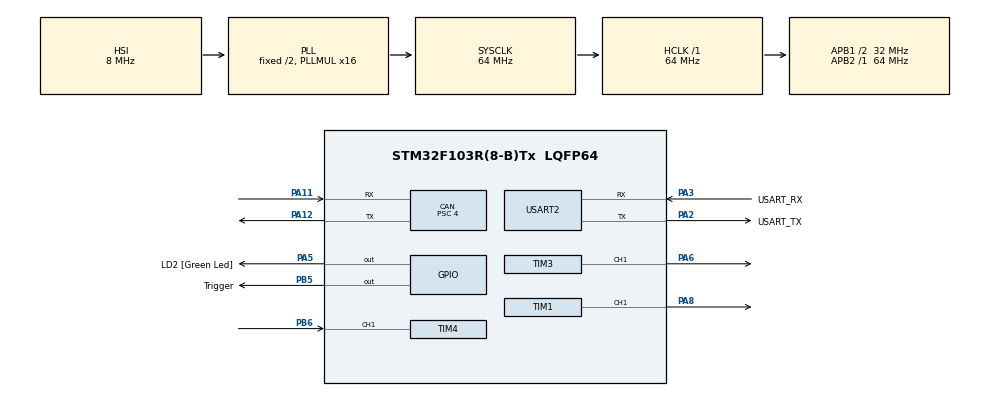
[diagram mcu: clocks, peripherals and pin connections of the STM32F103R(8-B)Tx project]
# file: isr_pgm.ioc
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CAN.ABOM=ENABLE
CAN.BS1=CAN_BS1_15TQ
CAN.BS2=CAN_BS2_2TQ
CAN.CalculateBaudRate=444444
CAN.CalculateTimeBit=2250
CAN.CalculateTimeQuantum=125.0
CAN.Mode=CAN_MODE_LOOPBACK
CAN.NART=ENABLE
CAN.Prescaler=4
Mcu.Family=STM32F1
Mcu.Name=STM32F103R(8-B)Tx
Mcu.Package=LQFP64
NVIC.PriorityGroup=NVIC_PRIORITYGROUP_4
NVIC.TIM2_IRQn=true\:15\:0\:false\:false\:true\:false\:true\:true
NVIC.TIM4_IRQn=true\:12\:0\:true\:false\:true\:true\:true\:true
NVIC.TimeBase=TIM2_IRQn
NVIC.TimeBaseIP=TIM2
NVIC.USB_LP_CAN1_RX0_IRQn=true\:12\:0\:true\:false\:true\:true\:true\:true
PA11.Mode=CAN_Activate
PA11.Signal=CAN_RX
PA12.Mode=CAN_Activate
PA12.Signal=CAN_TX
PA13.GPIO_Label=TMS
PA13.Mode=Serial_Wire
PA13.Signal=SYS_JTMS-SWDIO
PA14.GPIO_Label=TCK
PA14.Mode=Serial_Wire
PA14.Signal=SYS_JTCK-SWCLK
PA2.GPIO_Label=USART_TX
PA2.GPIO_Mode=GPIO_MODE_AF_PP
PA2.GPIO_PuPd=GPIO_NOPULL
PA2.GPIO_Speed=GPIO_SPEED_FREQ_LOW
PA2.Mode=Asynchronous
PA2.Signal=USART2_TX
PA3.GPIO_Label=USART_RX
PA3.GPIO_Mode=GPIO_MODE_AF_PP
PA3.GPIO_PuPd=GPIO_NOPULL
PA3.GPIO_Speed=GPIO_SPEED_FREQ_LOW
PA3.Mode=Asynchronous
PA3.Signal=USART2_RX
PA5.GPIO_Label=LD2 [Green Led]
PA5.GPIO_ModeDefaultOutputPP=GPIO_MODE_OUTPUT_PP
PA5.GPIO_PuPd=GPIO_NOPULL
PA5.GPIO_Speed=GPIO_SPEED_FREQ_LOW
PA5.Signal=GPIO_Output
PA6.Signal=S_TIM3_CH1
PA8.Signal=S_TIM1_CH1
PB3.GPIO_Label=SWO
PB3.Signal=SYS_JTDO-TRACESWO
PB5.GPIO_Label=Trigger
PB5.Signal=GPIO_Output
PB6.Signal=S_TIM4_CH1
PC14-OSC32_IN.Signal=RCC_OSC32_IN
PC15-OSC32_OUT.Signal=RCC_OSC32_OUT
PD0-OSC_IN.Signal=RCC_OSC_IN
PD1-OSC_OUT.Signal=RCC_OSC_OUT
ProjectManager.HeapSize=0x200
ProjectManager.StackSize=0x400
ProjectManager.TargetToolchain=STM32CubeIDE
RCC.AHBFreq_Value=64000000
RCC.APB1CLKDivider=RCC_HCLK_DIV2
RCC.APB1Freq_Value=32000000
RCC.APB1TimFreq_Value=64000000
RCC.APB2Freq_Value=64000000
RCC.APB2TimFreq_Value=64000000
RCC.HCLKFreq_Value=64000000
RCC.PLLMUL=RCC_PLL_MUL16
RCC.SYSCLKFreq_VALUE=64000000
RCC.SYSCLKSource=RCC_SYSCLKSOURCE_PLLCLK
RCC.USBFreq_Value=64000000
SH.S_TIM1_CH1.0=TIM1_CH1,PWM Generation1 CH1
SH.S_TIM3_CH1.0=TIM3_CH1,PWM Generation1 CH1
SH.S_TIM4_CH1.0=TIM4_CH1,PWM_Input_1
TIM1.Channel-PWM\ Generation1\ CH1=TIM_CHANNEL_1
TIM1.Period=19999
TIM1.Prescaler=63
TIM3.Channel-PWM\ Generation1\ CH1=TIM_CHANNEL_1
TIM3.Period=19999
TIM3.Prescaler=63
TIM4.ICFilter_1=4
TIM4.ICFilter_2=4
TIM4.Prescaler=63
USART2.VirtualMode=VM_ASYNC
VP_SYS_VS_tim2.Mode=TIM2
VP_TIM1_VS_ClockSourceINT.Mode=Internal
VP_TIM3_VS_ClockSourceINT.Mode=Internal
VP_TIM4_VS_ClockSourceINT.Mode=Internal
board=NUCLEO-F103RB

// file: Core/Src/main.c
/* USER CODE BEGIN Header */
/**
  ******************************************************************************
  * @file           : main.c
  * @brief          : Main program body
  ******************************************************************************
  * @attention
  *
  * Copyright (c) 2026 STMicroelectronics.
  * All rights reserved.
  *
  * This software is licensed under terms that can be found in the LICENSE file
  * in the root directory of this software component.
  * If no LICENSE file comes with this software, it is provided AS-IS.
  *
  ******************************************************************************
  */
/* USER CODE END Header */
#include "main.h"

/* USER CODE BEGIN Includes */
#include <stdio.h>
#include "FreeRTOS.h"
#include "task.h"
#include "sensor_task.h"
#include "queue.h"
#include "guidance_task.h"
/* USER CODE END Includes */

CAN_HandleTypeDef hcan;

TIM_HandleTypeDef htim1;
TIM_HandleTypeDef htim3;
TIM_HandleTypeDef htim4;

UART_HandleTypeDef huart2;

/* USER CODE BEGIN PV */

TaskHandle_t xSensorScannerHandle;
TaskHandle_t xGuidanceHandle;
TaskHandle_t xUARTHandle;
QueueHandle_t xGuidanceQueue;
QueueHandle_t xUARTQueue;
/* USER CODE END PV */

void SystemClock_Config(void);
static void MX_GPIO_Init(void);
static void MX_TIM3_Init(void);
static void MX_TIM4_Init(void);
static void MX_CAN_Init(void);
static void MX_TIM1_Init(void);
static void MX_USART2_UART_Init(void);
/* USER CODE BEGIN PFP */

extern void vTaskSensorScanner(void* parameters);
extern void vTaskGuidance(void* parameters);
extern void vTaskUART(void *parameters);
HAL_StatusTypeDef HAL_FilterConfiguration(void);

/* USER CODE END PFP */

/* USER CODE BEGIN 0 */
int __io_putchar(int ch) {

    HAL_UART_Transmit(&huart2, (uint8_t *)&ch, 1, 0xFFFF);

    return ch;

}
/* USER CODE END 0 */

int main(void)
{

  /* USER CODE BEGIN 1 */
	BaseType_t status;
  /* USER CODE END 1 */

  /* MCU Configuration--------------------------------------------------------*/

  /* Reset of all peripherals, Initializes the Flash interface and the Systick. */
  HAL_Init();

  /* Configure the system clock */
  SystemClock_Config();

  /* Initialize all configured peripherals */
  MX_GPIO_Init();
  MX_TIM3_Init();
  MX_TIM4_Init();
  MX_CAN_Init();
  MX_TIM1_Init();
  MX_USART2_UART_Init();
  /* USER CODE BEGIN 2 */
  // 필터 설정
  if (HAL_FilterConfiguration() != HAL_OK)
  {
	  Error_Handler();
  }
  HAL_CAN_ActivateNotification(&hcan, CAN_IT_RX_FIFO0_MSG_PENDING);
  HAL_CAN_Start(&hcan);

  CoreDebug->DEMCR |= CoreDebug_DEMCR_TRCENA_Msk;
  DWT->CYCCNT = 0;
  DWT->CTRL |= DWT_CTRL_CYCCNTENA_Msk;

  HAL_TIM_PWM_Start(&htim3, TIM_CHANNEL_1);
  HAL_TIM_PWM_Start(&htim1, TIM_CHANNEL_1);

  xGuidanceQueue = xQueueCreate(10, sizeof(uint8_t) * 4);
  xUARTQueue = xQueueCreate(5, sizeof(UART_Data_t));

  status = xTaskCreate(vTaskSensorScanner, "sensor_task", 250, NULL, 2, &xSensorScannerHandle);
  configASSERT(status == pdTRUE);

  status = xTaskCreate(vTaskGuidance, "guidance_task", 250, NULL, 3, &xGuidanceHandle);
  configASSERT(status == pdTRUE);

  status = xTaskCreate(vTaskUART, "uart_task", 250, NULL, 1, &xUARTHandle);
  configASSERT(status == pdTRUE);

  vTaskStartScheduler();
  /* USER CODE END 2 */

  /* Infinite loop */
  while (1)
  {

  }
}

void SystemClock_Config(void)
{
  RCC_OscInitTypeDef RCC_OscInitStruct = {0};
  RCC_ClkInitTypeDef RCC_ClkInitStruct = {0};

  /** Initializes the RCC Oscillators according to the specified parameters
  * in the RCC_OscInitTypeDef structure.
  */
  RCC_OscInitStruct.OscillatorType = RCC_OSCILLATORTYPE_HSI;
  RCC_OscInitStruct.HSIState = RCC_HSI_ON;
  RCC_OscInitStruct.HSICalibrationValue = RCC_HSICALIBRATION_DEFAULT;
  RCC_OscInitStruct.PLL.PLLState = RCC_PLL_ON;
  RCC_OscInitStruct.PLL.PLLSource = RCC_PLLSOURCE_HSI_DIV2;
  RCC_OscInitStruct.PLL.PLLMUL = RCC_PLL_MUL16;
  if (HAL_RCC_OscConfig(&RCC_OscInitStruct) != HAL_OK)
  {
    Error_Handler();
  }

  /** Initializes the CPU, AHB and APB buses clocks
  */
  RCC_ClkInitStruct.ClockType = RCC_CLOCKTYPE_HCLK|RCC_CLOCKTYPE_SYSCLK
                              |RCC_CLOCKTYPE_PCLK1|RCC_CLOCKTYPE_PCLK2;
  RCC_ClkInitStruct.SYSCLKSource = RCC_SYSCLKSOURCE_PLLCLK;
  RCC_ClkInitStruct.AHBCLKDivider = RCC_SYSCLK_DIV1;
  RCC_ClkInitStruct.APB1CLKDivider = RCC_HCLK_DIV2;
  RCC_ClkInitStruct.APB2CLKDivider = RCC_HCLK_DIV1;

  if (HAL_RCC_ClockConfig(&RCC_ClkInitStruct, FLASH_LATENCY_2) != HAL_OK)
  {
    Error_Handler();
  }
}

static void MX_CAN_Init(void)
{

  hcan.Instance = CAN1;
  hcan.Init.Prescaler = 4;
  hcan.Init.Mode = CAN_MODE_LOOPBACK;
  hcan.Init.SyncJumpWidth = CAN_SJW_1TQ;
  hcan.Init.TimeSeg1 = CAN_BS1_15TQ;
  hcan.Init.TimeSeg2 = CAN_BS2_2TQ;
  hcan.Init.TimeTriggeredMode = DISABLE;
  hcan.Init.AutoBusOff = ENABLE;
  hcan.Init.AutoWakeUp = DISABLE;
  hcan.Init.AutoRetransmission = ENABLE;
  hcan.Init.ReceiveFifoLocked = DISABLE;
  hcan.Init.TransmitFifoPriority = DISABLE;
  if (HAL_CAN_Init(&hcan) != HAL_OK)
  {
    Error_Handler();
  }

}

static void MX_TIM1_Init(void)
{

  TIM_ClockConfigTypeDef sClockSourceConfig = {0};
  TIM_MasterConfigTypeDef sMasterConfig = {0};
  TIM_OC_InitTypeDef sConfigOC = {0};
  TIM_BreakDeadTimeConfigTypeDef sBreakDeadTimeConfig = {0};

  htim1.Instance = TIM1;
  htim1.Init.Prescaler = 63;
  htim1.Init.CounterMode = TIM_COUNTERMODE_UP;
  htim1.Init.Period = 19999;
  htim1.Init.ClockDivision = TIM_CLOCKDIVISION_DIV1;
  htim1.Init.RepetitionCounter = 0;
  htim1.Init.AutoReloadPreload = TIM_AUTORELOAD_PRELOAD_DISABLE;
  if (HAL_TIM_Base_Init(&htim1) != HAL_OK)
  {
    Error_Handler();
  }
  sClockSourceConfig.ClockSource = TIM_CLOCKSOURCE_INTERNAL;
  if (HAL_TIM_ConfigClockSource(&htim1, &sClockSourceConfig) != HAL_OK)
  {
    Error_Handler();
  }
  if (HAL_TIM_PWM_Init(&htim1) != HAL_OK)
  {
    Error_Handler();
  }
  sMasterConfig.MasterOutputTrigger = TIM_TRGO_RESET;
  sMasterConfig.MasterSlaveMode = TIM_MASTERSLAVEMODE_DISABLE;
  if (HAL_TIMEx_MasterConfigSynchronization(&htim1, &sMasterConfig) != HAL_OK)
  {
    Error_Handler();
  }
  sConfigOC.OCMode = TIM_OCMODE_PWM1;
  sConfigOC.Pulse = 0;
  sConfigOC.OCPolarity = TIM_OCPOLARITY_HIGH;
  sConfigOC.OCNPolarity = TIM_OCNPOLARITY_HIGH;
  sConfigOC.OCFastMode = TIM_OCFAST_DISABLE;
  sConfigOC.OCIdleState = TIM_OCIDLESTATE_RESET;
  sConfigOC.OCNIdleState = TIM_OCNIDLESTATE_RESET;
  if (HAL_TIM_PWM_ConfigChannel(&htim1, &sConfigOC, TIM_CHANNEL_1) != HAL_OK)
  {
    Error_Handler();
  }
  sBreakDeadTimeConfig.OffStateRunMode = TIM_OSSR_DISABLE;
  sBreakDeadTimeConfig.OffStateIDLEMode = TIM_OSSI_DISABLE;
  sBreakDeadTimeConfig.LockLevel = TIM_LOCKLEVEL_OFF;
  sBreakDeadTimeConfig.DeadTime = 0;
  sBreakDeadTimeConfig.BreakState = TIM_BREAK_DISABLE;
  sBreakDeadTimeConfig.BreakPolarity = TIM_BREAKPOLARITY_HIGH;
  sBreakDeadTimeConfig.AutomaticOutput = TIM_AUTOMATICOUTPUT_DISABLE;
  if (HAL_TIMEx_ConfigBreakDeadTime(&htim1, &sBreakDeadTimeConfig) != HAL_OK)
  {
    Error_Handler();
  }
  HAL_TIM_MspPostInit(&htim1);

}

static void MX_TIM3_Init(void)
{

  TIM_ClockConfigTypeDef sClockSourceConfig = {0};
  TIM_MasterConfigTypeDef sMasterConfig = {0};
  TIM_OC_InitTypeDef sConfigOC = {0};

  htim3.Instance = TIM3;
  htim3.Init.Prescaler = 63;
  htim3.Init.CounterMode = TIM_COUNTERMODE_UP;
  htim3.Init.Period = 19999;
  htim3.Init.ClockDivision = TIM_CLOCKDIVISION_DIV1;
  htim3.Init.AutoReloadPreload = TIM_AUTORELOAD_PRELOAD_DISABLE;
  if (HAL_TIM_Base_Init(&htim3) != HAL_OK)
  {
    Error_Handler();
  }
  sClockSourceConfig.ClockSource = TIM_CLOCKSOURCE_INTERNAL;
  if (HAL_TIM_ConfigClockSource(&htim3, &sClockSourceConfig) != HAL_OK)
  {
    Error_Handler();
  }
  if (HAL_TIM_PWM_Init(&htim3) != HAL_OK)
  {
    Error_Handler();
  }
  sMasterConfig.MasterOutputTrigger = TIM_TRGO_RESET;
  sMasterConfig.MasterSlaveMode = TIM_MASTERSLAVEMODE_DISABLE;
  if (HAL_TIMEx_MasterConfigSynchronization(&htim3, &sMasterConfig) != HAL_OK)
  {
    Error_Handler();
  }
  sConfigOC.OCMode = TIM_OCMODE_PWM1;
  sConfigOC.Pulse = 0;
  sConfigOC.OCPolarity = TIM_OCPOLARITY_HIGH;
  sConfigOC.OCFastMode = TIM_OCFAST_DISABLE;
  if (HAL_TIM_PWM_ConfigChannel(&htim3, &sConfigOC, TIM_CHANNEL_1) != HAL_OK)
  {
    Error_Handler();
  }
  HAL_TIM_MspPostInit(&htim3);

}

static void MX_TIM4_Init(void)
{

  TIM_ClockConfigTypeDef sClockSourceConfig = {0};
  TIM_SlaveConfigTypeDef sSlaveConfig = {0};
  TIM_IC_InitTypeDef sConfigIC = {0};
  TIM_MasterConfigTypeDef sMasterConfig = {0};

  htim4.Instance = TIM4;
  htim4.Init.Prescaler = 63;
  htim4.Init.CounterMode = TIM_COUNTERMODE_UP;
  htim4.Init.Period = 65535;
  htim4.Init.ClockDivision = TIM_CLOCKDIVISION_DIV1;
  htim4.Init.AutoReloadPreload = TIM_AUTORELOAD_PRELOAD_DISABLE;
  if (HAL_TIM_Base_Init(&htim4) != HAL_OK)
  {
    Error_Handler();
  }
  sClockSourceConfig.ClockSource = TIM_CLOCKSOURCE_INTERNAL;
  if (HAL_TIM_ConfigClockSource(&htim4, &sClockSourceConfig) != HAL_OK)
  {
    Error_Handler();
  }
  if (HAL_TIM_IC_Init(&htim4) != HAL_OK)
  {
    Error_Handler();
  }
  sSlaveConfig.SlaveMode = TIM_SLAVEMODE_RESET;
  sSlaveConfig.InputTrigger = TIM_TS_TI1FP1;
  sSlaveConfig.TriggerPolarity = TIM_INPUTCHANNELPOLARITY_RISING;
  sSlaveConfig.TriggerPrescaler = TIM_ICPSC_DIV1;
  sSlaveConfig.TriggerFilter = 4;
  if (HAL_TIM_SlaveConfigSynchro(&htim4, &sSlaveConfig) != HAL_OK)
  {
    Error_Handler();
  }
  sConfigIC.ICPolarity = TIM_INPUTCHANNELPOLARITY_RISING;
  sConfigIC.ICSelection = TIM_ICSELECTION_DIRECTTI;
  sConfigIC.ICPrescaler = TIM_ICPSC_DIV1;
  sConfigIC.ICFilter = 4;
  if (HAL_TIM_IC_ConfigChannel(&htim4, &sConfigIC, TIM_CHANNEL_1) != HAL_OK)
  {
    Error_Handler();
  }
  sConfigIC.ICPolarity = TIM_INPUTCHANNELPOLARITY_FALLING;
  sConfigIC.ICSelection = TIM_ICSELECTION_INDIRECTTI;
  if (HAL_TIM_IC_ConfigChannel(&htim4, &sConfigIC, TIM_CHANNEL_2) != HAL_OK)
  {
    Error_Handler();
  }
  sMasterConfig.MasterOutputTrigger = TIM_TRGO_RESET;
  sMasterConfig.MasterSlaveMode = TIM_MASTERSLAVEMODE_DISABLE;
  if (HAL_TIMEx_MasterConfigSynchronization(&htim4, &sMasterConfig) != HAL_OK)
  {
    Error_Handler();
  }

}

static void MX_USART2_UART_Init(void)
{

  huart2.Instance = USART2;
  huart2.Init.BaudRate = 115200;
  huart2.Init.WordLength = UART_WORDLENGTH_8B;
  huart2.Init.StopBits = UART_STOPBITS_1;
  huart2.Init.Parity = UART_PARITY_NONE;
  huart2.Init.Mode = UART_MODE_TX_RX;
  huart2.Init.HwFlowCtl = UART_HWCONTROL_NONE;
  huart2.Init.OverSampling = UART_OVERSAMPLING_16;
  if (HAL_UART_Init(&huart2) != HAL_OK)
  {
    Error_Handler();
  }

}

static void MX_GPIO_Init(void)
{
  GPIO_InitTypeDef GPIO_InitStruct = {0};

  /* GPIO Ports Clock Enable */
  __HAL_RCC_GPIOC_CLK_ENABLE();
  __HAL_RCC_GPIOD_CLK_ENABLE();
  __HAL_RCC_GPIOA_CLK_ENABLE();
  __HAL_RCC_GPIOB_CLK_ENABLE();

  /*Configure GPIO pin Output Level */
  HAL_GPIO_WritePin(LD2_GPIO_Port, LD2_Pin, GPIO_PIN_RESET);

  /*Configure GPIO pin Output Level */
  HAL_GPIO_WritePin(Trigger_GPIO_Port, Trigger_Pin, GPIO_PIN_RESET);

  /*Configure GPIO pin : LD2_Pin */
  GPIO_InitStruct.Pin = LD2_Pin;
  GPIO_InitStruct.Mode = GPIO_MODE_OUTPUT_PP;
  GPIO_InitStruct.Pull = GPIO_NOPULL;
  GPIO_InitStruct.Speed = GPIO_SPEED_FREQ_LOW;
  HAL_GPIO_Init(LD2_GPIO_Port, &GPIO_InitStruct);

  /*Configure GPIO pin : Trigger_Pin */
  GPIO_InitStruct.Pin = Trigger_Pin;
  GPIO_InitStruct.Mode = GPIO_MODE_OUTPUT_PP;
  GPIO_InitStruct.Pull = GPIO_NOPULL;
  GPIO_InitStruct.Speed = GPIO_SPEED_FREQ_LOW;
  HAL_GPIO_Init(Trigger_GPIO_Port, &GPIO_InitStruct);

}

/* USER CODE BEGIN 4 */
HAL_StatusTypeDef HAL_FilterConfiguration(void) {
    CAN_FilterTypeDef sFilterConfig = {0}; // ★ 1. 모든 필드를 0으로 초기화 (매우 중요)

    sFilterConfig.FilterBank = 0;
    sFilterConfig.FilterMode = CAN_FILTERMODE_IDMASK;
    sFilterConfig.FilterScale = CAN_FILTERSCALE_32BIT;

    // 2. 일단 모든 ID를 통과시키도록 0으로 설정 (Pass-All 모드)
    sFilterConfig.FilterIdHigh = 0x0000;
    sFilterConfig.FilterIdLow = 0x0000;
    sFilterConfig.FilterMaskIdHigh = 0x0000;
    sFilterConfig.FilterMaskIdLow = 0x0000;

    sFilterConfig.FilterFIFOAssignment = CAN_RX_FIFO0;
    sFilterConfig.FilterActivation = ENABLE;

    // 3. 만약 특정 ID(0x101)만 받고 싶다면 나중에 이렇게 수정해:
    // sFilterConfig.FilterIdHigh = (0x101 << 5);
    // sFilterConfig.FilterMaskIdHigh = 0xFFE0; // 정확히 0x101만 통과

    return HAL_CAN_ConfigFilter(&hcan, &sFilterConfig);
}

/* USER CODE END 4 */

void HAL_TIM_PeriodElapsedCallback(TIM_HandleTypeDef *htim)
{
  if (htim->Instance == TIM2)
  {
    HAL_IncTick();
  }
}

void Error_Handler(void)
{
  __disable_irq();
  while (1)
  {
  }
}
